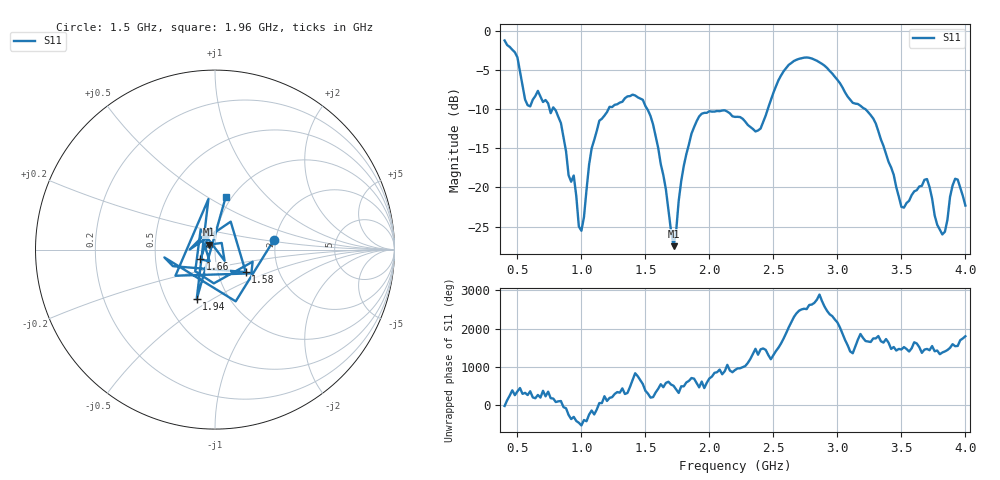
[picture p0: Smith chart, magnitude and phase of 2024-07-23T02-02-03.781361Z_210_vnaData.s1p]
!Created with skrf (http://scikit-rf.org).
# Hz S RI R 50.0
!freq ReS11 ImS11
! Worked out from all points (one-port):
!   181 points, 400 MHz to 4 GHz, reference 50 ohm
!   lowest |S11| = -27.5 dB at 1.72 GHz (marker M1), VSWR 1.09, Z = 46.8 + j2.62 ohm
!   |S11| at or under -10 dB: 790.3 MHz to 1.212 GHz (421.5 MHz wide, 42.1 % of centre); 1.514 GHz to 2.456 GHz (942.3 MHz wide, 47.5 % of centre); 3.216 GHz to end of sweep (the widest 3 of 4)
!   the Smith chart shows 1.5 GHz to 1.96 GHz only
!   S11 on the Smith chart (normalised r, x): 1.5 GHz: 1.95, +0.22; 1.58 GHz: 1.36, -0.36; 1.66 GHz: 0.85, -0.09; 1.94 GHz: 0.71, -0.43; 1.96 GHz: 0.94, +0.60
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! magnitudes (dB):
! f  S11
! 400 MHz  -1.3
! 500 MHz  -3.4
! 580 MHz  -9.5
! 660 MHz  -7.7
! 860 MHz  -13.6
! 1 GHz  -25.5
! 1.08 GHz  -15.0
! 1.14 GHz  -11.5
! 1.3 GHz  -9.2
! 1.5 GHz  -9.6
! 1.58 GHz  -13.5
! 1.66 GHz  -20.2
! 1.72 GHz  -27.5
! 1.76 GHz  -21.7
! 1.86 GHz  -13.1
! 1.94 GHz  -10.6
! 1.96 GHz  -10.5
! 2.2 GHz  -11.0
! 2.4 GHz  -12.5
! 2.66 GHz  -3.9
! 3.1 GHz  -8.8
! 3.28 GHz  -11.2
! 3.5 GHz  -22.5
! 3.56 GHz  -21.7
! 3.7 GHz  -18.9
! 3.82 GHz  -26.0
! 3.92 GHz  -18.9
! 4 GHz  -22.3
